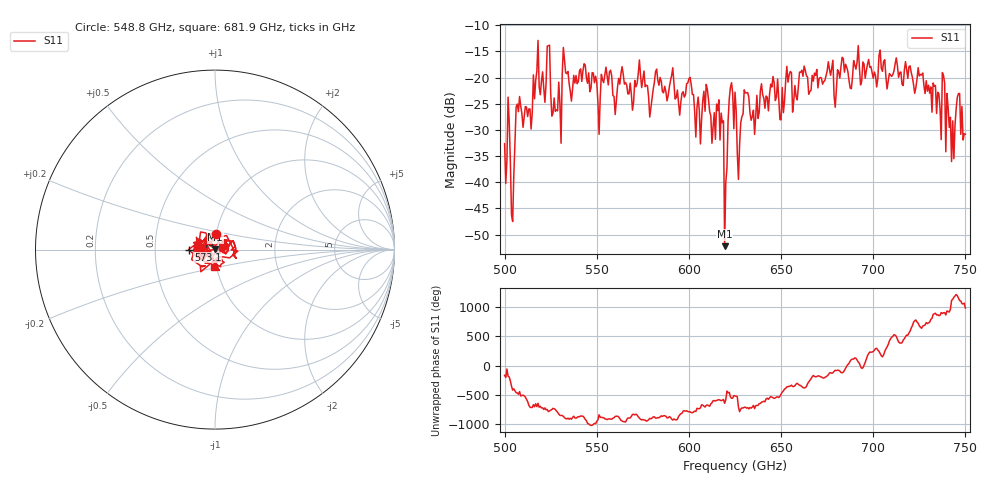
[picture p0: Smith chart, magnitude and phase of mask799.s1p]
!Created with skrf (http://scikit-rf.org).
# GHz S MA R 50.0
!freq magS11 angS11
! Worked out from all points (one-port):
!   401 points, 500 GHz to 750 GHz, reference 50 ohm
!   lowest |S11| = -52.2 dB at 619.4 GHz (marker M1), VSWR 1.00, Z = 50.1 + j0.235 ohm
!   |S11| at or under -10 dB: start of sweep to end of sweep
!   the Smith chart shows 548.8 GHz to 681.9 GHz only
!   S11 on the Smith chart (normalised r, x): 548.8 GHz: 0.99, +0.18; 573.1 GHz: 0.74, +0.00; 681.9 GHz: 0.97, -0.19
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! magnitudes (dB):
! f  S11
! 500 GHz  -32.6
! 504.4 GHz  -47.5
! 507.5 GHz  -26.5
! 513.8 GHz  -26.0
! 516.9 GHz  -20.5
! 523.8 GHz  -13.9
! 526.9 GHz  -23.9
! 531.2 GHz  -19.4
! 548.8 GHz  -21.0
! 562.5 GHz  -21.3
! 573.1 GHz  -16.6
! 593.8 GHz  -22.4
! 609.4 GHz  -21.3
! 617.5 GHz  -26.8
! 619.4 GHz  -52.2
! 620.6 GHz  -37.4
! 622.5 GHz  -21.9
! 625 GHz  -22.8
! 627.5 GHz  -32.8
! 631.2 GHz  -22.9
! 635 GHz  -26.2
! 656.2 GHz  -26.6
! 681.9 GHz  -20.1
! 687.5 GHz  -22.0
! 718.8 GHz  -20.2
! 742.5 GHz  -36.1
! 746.9 GHz  -23.0
! 750 GHz  -30.8
